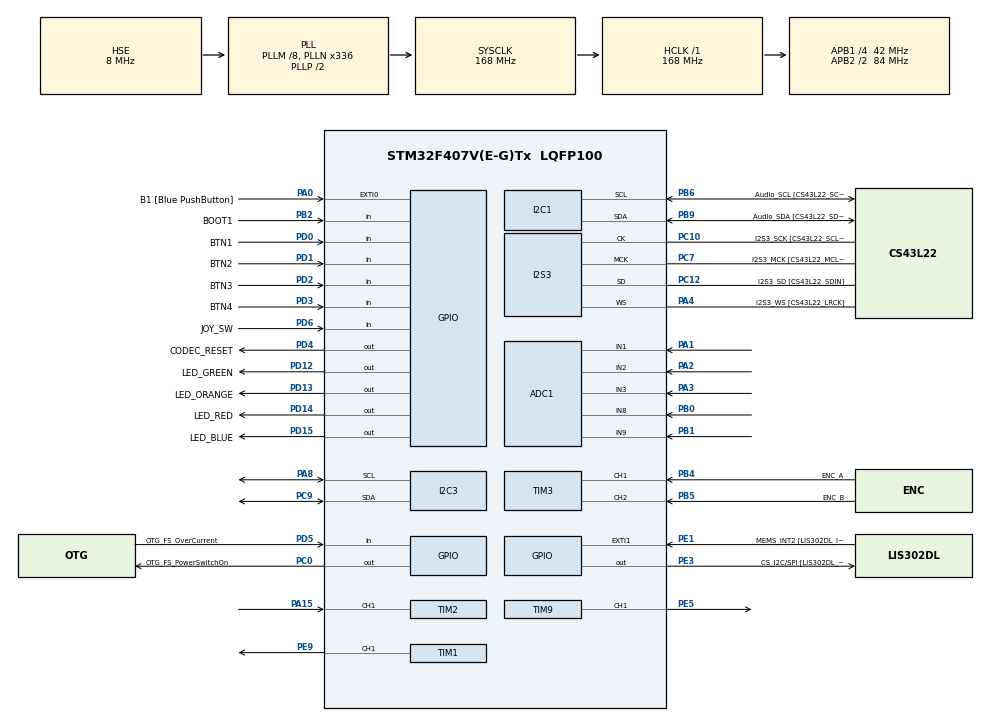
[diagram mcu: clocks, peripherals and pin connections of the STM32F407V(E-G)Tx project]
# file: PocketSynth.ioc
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ADC1.Channel-0\#ChannelRegularConversion=ADC_CHANNEL_8
ADC1.Channel-1\#ChannelRegularConversion=ADC_CHANNEL_9
ADC1.Channel-2\#ChannelRegularConversion=ADC_CHANNEL_1
ADC1.Channel-3\#ChannelRegularConversion=ADC_CHANNEL_2
ADC1.Channel-4\#ChannelRegularConversion=ADC_CHANNEL_3
ADC1.ContinuousConvMode=ENABLE
ADC1.DMAContinuousRequests=ENABLE
ADC1.NbrOfConversion=5
ADC1.NbrOfConversionFlag=1
ADC1.Rank-0\#ChannelRegularConversion=1
ADC1.Rank-1\#ChannelRegularConversion=2
ADC1.Rank-2\#ChannelRegularConversion=3
ADC1.Rank-3\#ChannelRegularConversion=4
ADC1.Rank-4\#ChannelRegularConversion=5
ADC1.SamplingTime-0\#ChannelRegularConversion=ADC_SAMPLETIME_480CYCLES
ADC1.SamplingTime-1\#ChannelRegularConversion=ADC_SAMPLETIME_480CYCLES
ADC1.SamplingTime-2\#ChannelRegularConversion=ADC_SAMPLETIME_480CYCLES
ADC1.SamplingTime-3\#ChannelRegularConversion=ADC_SAMPLETIME_480CYCLES
ADC1.SamplingTime-4\#ChannelRegularConversion=ADC_SAMPLETIME_480CYCLES
ADC1.ScanConvMode=ENABLE
ADC1.master=1
Dma.ADC1.1.Direction=DMA_PERIPH_TO_MEMORY
Dma.ADC1.1.FIFOMode=DMA_FIFOMODE_DISABLE
Dma.ADC1.1.Instance=DMA2_Stream0
Dma.ADC1.1.MemDataAlignment=DMA_MDATAALIGN_HALFWORD
Dma.ADC1.1.MemInc=DMA_MINC_ENABLE
Dma.ADC1.1.Mode=DMA_CIRCULAR
Dma.ADC1.1.PeriphDataAlignment=DMA_PDATAALIGN_HALFWORD
Dma.ADC1.1.PeriphInc=DMA_PINC_DISABLE
Dma.ADC1.1.Priority=DMA_PRIORITY_LOW
Dma.Request0=SPI3_TX
Dma.Request1=ADC1
Dma.Request2=TIM1_CH1
Dma.SPI3_TX.0.Direction=DMA_MEMORY_TO_PERIPH
Dma.SPI3_TX.0.FIFOMode=DMA_FIFOMODE_DISABLE
Dma.SPI3_TX.0.Instance=DMA1_Stream5
Dma.SPI3_TX.0.MemDataAlignment=DMA_MDATAALIGN_HALFWORD
Dma.SPI3_TX.0.MemInc=DMA_MINC_ENABLE
Dma.SPI3_TX.0.Mode=DMA_CIRCULAR
Dma.SPI3_TX.0.PeriphDataAlignment=DMA_PDATAALIGN_HALFWORD
Dma.SPI3_TX.0.PeriphInc=DMA_PINC_DISABLE
Dma.SPI3_TX.0.Priority=DMA_PRIORITY_HIGH
Dma.TIM1_CH1.2.Direction=DMA_MEMORY_TO_PERIPH
Dma.TIM1_CH1.2.FIFOMode=DMA_FIFOMODE_DISABLE
Dma.TIM1_CH1.2.Instance=DMA2_Stream1
Dma.TIM1_CH1.2.MemDataAlignment=DMA_MDATAALIGN_HALFWORD
Dma.TIM1_CH1.2.MemInc=DMA_MINC_ENABLE
Dma.TIM1_CH1.2.Mode=DMA_NORMAL
Dma.TIM1_CH1.2.PeriphDataAlignment=DMA_PDATAALIGN_HALFWORD
Dma.TIM1_CH1.2.PeriphInc=DMA_PINC_DISABLE
Dma.TIM1_CH1.2.Priority=DMA_PRIORITY_LOW
I2S3.AudioFreq=I2S_AUDIOFREQ_48K
I2S3.ErrorAudioFreq=-0.01 %
I2S3.FullDuplexMode=I2S_FULLDUPLEXMODE_DISABLE
I2S3.Instance=SPI$Index
I2S3.RealAudioFreq=47.991 KHz
I2S3.VirtualMode=I2S_MODE_MASTER
Mcu.Family=STM32F4
Mcu.Name=STM32F407V(E-G)Tx
Mcu.Package=LQFP100
NVIC.DMA1_Stream5_IRQn=true\:0\:0\:false\:false\:true\:false\:true\:true
NVIC.DMA2_Stream0_IRQn=true\:6\:0\:true\:false\:true\:false\:true\:true
NVIC.DMA2_Stream1_IRQn=true\:7\:0\:true\:false\:true\:false\:true\:true
NVIC.PriorityGroup=NVIC_PRIORITYGROUP_4
NVIC.TIM6_DAC_IRQn=true\:5\:0\:true\:false\:true\:true\:true\:true
PA0-WKUP.GPIO_Label=B1 [Blue PushButton]
PA0-WKUP.Signal=GPXTI0
PA1.Signal=ADCx_IN1
PA10.GPIO_Label=OTG_FS_ID
PA10.GPIO_Mode=GPIO_MODE_AF_PP
PA10.GPIO_PuPd=GPIO_NOPULL
PA10.GPIO_Speed=GPIO_SPEED_FREQ_LOW
PA10.Signal=USB_OTG_FS_ID
PA11.GPIO_Label=OTG_FS_DM
PA11.GPIO_Mode=GPIO_MODE_AF_PP
PA11.GPIO_PuPd=GPIO_NOPULL
PA11.GPIO_Speed=GPIO_SPEED_FREQ_LOW
PA11.Signal=USB_OTG_FS_DM
PA12.GPIO_Label=OTG_FS_DP
PA12.GPIO_Mode=GPIO_MODE_AF_PP
PA12.GPIO_PuPd=GPIO_NOPULL
PA12.GPIO_Speed=GPIO_SPEED_FREQ_LOW
PA12.Signal=USB_OTG_FS_DP
PA13.GPIO_Label=SWDIO
PA13.Mode=Serial_Wire
PA13.Signal=SYS_JTMS-SWDIO
PA14.GPIO_Label=SWCLK
PA14.Mode=Serial_Wire
PA14.Signal=SYS_JTCK-SWCLK
PA15.Signal=S_TIM2_CH1_ETR
PA2.Signal=ADCx_IN2
PA3.Signal=ADCx_IN3
PA4.GPIO_Label=I2S3_WS [CS43L22_LRCK]
PA4.GPIO_Mode=GPIO_MODE_AF_PP
PA4.GPIO_PuPd=GPIO_NOPULL
PA4.GPIO_Speed=GPIO_SPEED_FREQ_LOW
PA4.Mode=Half_Duplex_Master
PA4.Signal=I2S3_WS
PA5.GPIO_Label=SPI1_SCK [LIS302DL_SCL/SPC]
PA5.GPIO_Mode=GPIO_MODE_AF_PP
PA5.GPIO_PuPd=GPIO_NOPULL
PA5.GPIO_Speed=GPIO_SPEED_FREQ_LOW
PA5.Signal=SPI1_SCK
PA6.GPIO_Label=SPI1_MISO [LIS302DL_SDO]
PA6.GPIO_Mode=GPIO_MODE_AF_PP
PA6.GPIO_PuPd=GPIO_NOPULL
PA6.GPIO_Speed=GPIO_SPEED_FREQ_LOW
PA6.Signal=SPI1_MISO
PA7.GPIO_Label=SPI1_MOSI [LIS302DL_SDA/SDI/SDO]
PA7.GPIO_Mode=GPIO_MODE_AF_PP
PA7.GPIO_PuPd=GPIO_NOPULL
PA7.GPIO_Speed=GPIO_SPEED_FREQ_LOW
PA7.Signal=SPI1_MOSI
PA8.Mode=I2C
PA8.Signal=I2C3_SCL
PA9.GPIO_Label=VBUS_FS
PA9.GPIO_Mode=GPIO_MODE_INPUT
PA9.GPIO_PuPd=GPIO_NOPULL
PA9.Signal=USB_OTG_FS_VBUS
PB0.Signal=ADCx_IN8
PB1.Signal=ADCx_IN9
PB10.GPIO_Label=CLK_IN [MP45DT02_CLK]
PB10.GPIO_Mode=GPIO_MODE_AF_PP
PB10.GPIO_PuPd=GPIO_NOPULL
PB10.GPIO_Speed=GPIO_SPEED_FREQ_LOW
PB10.Signal=I2S2_CK
PB2.GPIO_Label=BOOT1
PB2.GPIO_Mode=GPIO_MODE_INPUT
PB2.GPIO_PuPd=GPIO_NOPULL
PB2.Signal=GPIO_Input
PB3.GPIO_Label=SWO
PB3.Signal=SYS_JTDO-SWO
PB4.GPIO_Label=ENC_A
PB4.GPIO_PuPd=GPIO_PULLUP
PB4.Signal=S_TIM3_CH1
PB5.GPIO_Label=ENC_B
PB5.GPIO_PuPd=GPIO_PULLUP
PB5.Signal=S_TIM3_CH2
PB6.GPIO_Label=Audio_SCL [CS43L22_SCL]
PB6.GPIO_Mode=GPIO_MODE_AF_OD
PB6.GPIO_PuPd=GPIO_NOPULL
PB6.GPIO_Speed=GPIO_SPEED_FREQ_LOW
PB6.Mode=I2C
PB6.Signal=I2C1_SCL
PB9.GPIO_Label=Audio_SDA [CS43L22_SDA]
PB9.GPIO_Mode=GPIO_MODE_AF_OD
PB9.GPIO_PuPd=GPIO_NOPULL
PB9.GPIO_Speed=GPIO_SPEED_FREQ_LOW
PB9.Mode=I2C
PB9.Signal=I2C1_SDA
PC0.GPIO_Label=OTG_FS_PowerSwitchOn
PC0.GPIO_PuPd=GPIO_NOPULL
PC0.GPIO_Speed=GPIO_SPEED_FREQ_LOW
PC0.PinState=GPIO_PIN_SET
PC0.Signal=GPIO_Output
PC10.GPIO_Label=I2S3_SCK [CS43L22_SCLK]
PC10.GPIO_Mode=GPIO_MODE_AF_PP
PC10.GPIO_PuPd=GPIO_NOPULL
PC10.GPIO_Speed=GPIO_SPEED_FREQ_LOW
PC10.Mode=Half_Duplex_Master
PC10.Signal=I2S3_CK
PC12.GPIO_Label=I2S3_SD [CS43L22_SDIN]
PC12.GPIO_Mode=GPIO_MODE_AF_PP
PC12.GPIO_PuPd=GPIO_NOPULL
PC12.GPIO_Speed=GPIO_SPEED_FREQ_LOW
PC12.Mode=Half_Duplex_Master
PC12.Signal=I2S3_SD
PC14-OSC32_IN.GPIO_Label=PC14-OSC32_IN
PC14-OSC32_IN.Signal=RCC_OSC32_IN
PC15-OSC32_OUT.GPIO_Label=PC15-OSC32_OUT
PC15-OSC32_OUT.Signal=RCC_OSC32_OUT
PC3.GPIO_Label=PDM_OUT [MP45DT02_DOUT]
PC3.GPIO_Mode=GPIO_MODE_AF_PP
PC3.GPIO_PuPd=GPIO_NOPULL
PC3.GPIO_Speed=GPIO_SPEED_FREQ_LOW
PC3.Signal=I2S2_SD
PC7.GPIO_Label=I2S3_MCK [CS43L22_MCLK]
PC7.GPIO_Mode=GPIO_MODE_AF_PP
PC7.GPIO_PuPd=GPIO_NOPULL
PC7.GPIO_Speed=GPIO_SPEED_FREQ_LOW
PC7.Mode=Master_Clock_Activated
PC7.Signal=I2S3_MCK
PC9.Mode=I2C
PC9.Signal=I2C3_SDA
PD0.GPIO_Label=BTN1
PD0.GPIO_PuPd=GPIO_PULLUP
PD0.Signal=GPIO_Input
PD1.GPIO_Label=BTN2
PD1.GPIO_PuPd=GPIO_PULLUP
PD1.Signal=GPIO_Input
PD12.GPIO_Label=LED_GREEN
PD12.GPIO_PuPd=GPIO_NOPULL
PD12.GPIO_Speed=GPIO_SPEED_FREQ_LOW
PD12.Signal=GPIO_Output
PD13.GPIO_Label=LED_ORANGE
PD13.GPIO_PuPd=GPIO_NOPULL
PD13.GPIO_Speed=GPIO_SPEED_FREQ_LOW
PD13.Signal=GPIO_Output
PD14.GPIO_Label=LED_RED
PD14.GPIO_PuPd=GPIO_NOPULL
PD14.GPIO_Speed=GPIO_SPEED_FREQ_LOW
PD14.Signal=GPIO_Output
PD15.GPIO_Label=LED_BLUE
PD15.GPIO_PuPd=GPIO_NOPULL
PD15.GPIO_Speed=GPIO_SPEED_FREQ_LOW
PD15.Signal=GPIO_Output
PD2.GPIO_Label=BTN3
PD2.GPIO_PuPd=GPIO_PULLUP
PD2.Signal=GPIO_Input
PD3.GPIO_Label=BTN4
PD3.GPIO_PuPd=GPIO_PULLUP
PD3.Signal=GPIO_Input
PD4.GPIO_Label=CODEC_RESET
PD4.Signal=GPIO_Output
PD5.GPIO_Label=OTG_FS_OverCurrent
PD5.GPIO_Mode=GPIO_MODE_INPUT
PD5.GPIO_PuPd=GPIO_NOPULL
PD5.Signal=GPIO_Input
PD6.GPIO_Label=JOY_SW
PD6.GPIO_PuPd=GPIO_PULLUP
PD6.Signal=GPIO_Input
PE1.GPIO_Label=MEMS_INT2 [LIS302DL_INT2]
PE1.GPIO_ModeDefaultEXTI=GPIO_MODE_EVT_RISING
PE1.GPIO_PuPd=GPIO_NOPULL
PE1.Signal=GPXTI1
PE3.GPIO_Label=CS_I2C/SPI [LIS302DL_CS_I2C/SPI]
PE3.GPIO_PuPd=GPIO_NOPULL
PE3.GPIO_Speed=GPIO_SPEED_FREQ_LOW
PE3.Signal=GPIO_Output
PE5.Signal=S_TIM9_CH1
PE9.Signal=S_TIM1_CH1
PH0-OSC_IN.GPIO_Label=PH0-OSC_IN
PH0-OSC_IN.Mode=HSE-External-Oscillator
PH0-OSC_IN.Signal=RCC_OSC_IN
PH1-OSC_OUT.GPIO_Label=PH1-OSC_OUT
PH1-OSC_OUT.Mode=HSE-External-Oscillator
PH1-OSC_OUT.Signal=RCC_OSC_OUT
ProjectManager.HeapSize=0x200
ProjectManager.StackSize=0x400
ProjectManager.TargetToolchain=STM32CubeIDE
RCC.48MHZClocksFreq_Value=48000000
RCC.AHBFreq_Value=168000000
RCC.APB1CLKDivider=RCC_HCLK_DIV4
RCC.APB1Freq_Value=42000000
RCC.APB1TimFreq_Value=84000000
RCC.APB2CLKDivider=RCC_HCLK_DIV2
RCC.APB2Freq_Value=84000000
RCC.APB2TimFreq_Value=168000000
RCC.CortexFreq_Value=168000000
RCC.HCLKFreq_Value=168000000
RCC.HSE_VALUE=8000000
RCC.HSI_VALUE=16000000
RCC.LSE_VALUE=32768
RCC.PLLI2SN=258
RCC.PLLI2SR=3
RCC.PLLM=8
RCC.PLLN=336
RCC.PLLQ=7
RCC.PLLSourceVirtual=RCC_PLLSOURCE_HSE
RCC.SYSCLKFreq_VALUE=168000000
RCC.SYSCLKSource=RCC_SYSCLKSOURCE_PLLCLK
RCC.VCOOutputFreq_Value=336000000
SH.ADCx_IN1.0=ADC1_IN1,IN1
SH.ADCx_IN2.0=ADC1_IN2,IN2
SH.ADCx_IN3.0=ADC1_IN3,IN3
SH.ADCx_IN8.0=ADC1_IN8,IN8
SH.ADCx_IN9.0=ADC1_IN9,IN9
SH.S_TIM1_CH1.0=TIM1_CH1,PWM Generation1 CH1
SH.S_TIM2_CH1_ETR.0=TIM2_CH1,PWM_Input_1
SH.S_TIM3_CH1.0=TIM3_CH1,Encoder_Interface
SH.S_TIM3_CH2.0=TIM3_CH2,Encoder_Interface
SH.S_TIM9_CH1.0=TIM9_CH1,PWM Generation1 CH1
TIM1.Channel-PWM\ Generation1\ CH1=TIM_CHANNEL_1
TIM1.Period=209
TIM2.Prescaler=83
TIM3.EncoderMode=TIM_ENCODERMODE_TI12
TIM3.IC1Filter=15
TIM3.IC2Filter=15
TIM6.Period=1000-1
TIM6.Prescaler=84-1
TIM9.Channel-PWM\ Generation1\ CH1=TIM_CHANNEL_1
TIM9.Period=59999
TIM9.Prescaler=167
TIM9.Pulse-PWM\ Generation1\ CH1=10
VP_TIM1_VS_ClockSourceINT.Mode=Internal
VP_TIM2_VS_ClockSourceINT.Mode=Internal
VP_TIM6_VS_ClockSourceINT.Mode=Enable_Timer
VP_TIM9_VS_ClockSourceINT.Mode=Internal
board=STM32F407G-DISC1

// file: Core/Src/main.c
/* USER CODE BEGIN Header */
/**
  ******************************************************************************
  * @file           : main.c
  * @brief          : Main program body
  ******************************************************************************
  * @attention
  *
  * Copyright (c) 2026 STMicroelectronics.
  * All rights reserved.
  *
  * This software is licensed under terms that can be found in the LICENSE file
  * in the root directory of this software component.
  * If no LICENSE file comes with this software, it is provided AS-IS.
  *
  ******************************************************************************
  */
/* USER CODE END Header */
#include "main.h"
#include "adc.h"
#include "dma.h"
#include "i2c.h"
#include "i2s.h"
#include "tim.h"
#include "gpio.h"

/* USER CODE BEGIN Includes */
#include "cs43l22.h"
#include "audio.h"
#include "controls.h"
#include "sonar.h"
#include "ui.h"
#include "perf.h"
/* USER CODE END Includes */

void SystemClock_Config(void);

/* USER CODE BEGIN 0 */
/* Something failed at startup: red LED on, and stop here. */
static void startup_failed(void)
{
    HAL_GPIO_WritePin(LED_RED_GPIO_Port, LED_RED_Pin, GPIO_PIN_SET);
    while (1) { }
}
/* USER CODE END 0 */

int main(void)
{

  /* MCU Configuration--------------------------------------------------------*/

  /* Reset of all peripherals, Initializes the Flash interface and the Systick. */
  HAL_Init();

  /* Configure the system clock */
  SystemClock_Config();

  /* Initialize all configured peripherals */
  MX_GPIO_Init();
  MX_DMA_Init();
  MX_I2S3_Init();
  MX_I2C1_Init();
  MX_TIM3_Init();
  MX_TIM6_Init();
  MX_ADC1_Init();
  MX_TIM2_Init();
  MX_TIM9_Init();
  MX_I2C3_Init();
  MX_TIM1_Init();
  /* USER CODE BEGIN 2 */
  /* 0. Start the CPU cycle counter used for the timing measurements. */
  Perf_Init();

  /* 1. Configure the codec over I2C. It stays powered down. */
  if (CS43L22_Init(&hi2c1) != HAL_OK)
      startup_failed();

  /* 2. Start the I2S DMA: MCLK and the sample stream start now. */
  if (Audio_Start(&hi2s3) != HAL_OK)
      startup_failed();

  /* 3. The clock is running, so it is now safe to power the codec on. */
  if (CS43L22_PowerOn() != HAL_OK)
      startup_failed();
  /* 4. Start reading the encoder and the 1 kHz control tick. */
  Sonar_Start(&htim9, &htim2);
  Controls_Start(&htim3, &htim6, &hadc1);

  /* 5. LCD and LEDs. These are slow, so they only ever run from the main loop. */
  UI_Start(&hi2c3, &htim1);
  /* USER CODE END 2 */

  /* Infinite loop */
  while (1)
  {

    /* USER CODE BEGIN 3 */
	  /* Button LEDs: each lights while its button is pressed. */
	HAL_GPIO_WritePin(LED_GREEN_GPIO_Port,  LED_GREEN_Pin,  !HAL_GPIO_ReadPin(BTN1_GPIO_Port, BTN1_Pin));
	HAL_GPIO_WritePin(LED_ORANGE_GPIO_Port, LED_ORANGE_Pin, !HAL_GPIO_ReadPin(BTN2_GPIO_Port, BTN2_Pin));
	HAL_GPIO_WritePin(LED_RED_GPIO_Port,    LED_RED_Pin,    !HAL_GPIO_ReadPin(BTN3_GPIO_Port, BTN3_Pin));
	HAL_GPIO_WritePin(LED_BLUE_GPIO_Port,   LED_BLUE_Pin,   !HAL_GPIO_ReadPin(BTN4_GPIO_Port, BTN4_Pin));
	UI_Update();
	Perf_Report();
	HAL_Delay(1);
  }
  /* USER CODE END 3 */
}

void SystemClock_Config(void)
{
  RCC_OscInitTypeDef RCC_OscInitStruct = {0};
  RCC_ClkInitTypeDef RCC_ClkInitStruct = {0};

  /** Configure the main internal regulator output voltage
  */
  __HAL_RCC_PWR_CLK_ENABLE();
  __HAL_PWR_VOLTAGESCALING_CONFIG(PWR_REGULATOR_VOLTAGE_SCALE1);

  /** Initializes the RCC Oscillators according to the specified parameters
  * in the RCC_OscInitTypeDef structure.
  */
  RCC_OscInitStruct.OscillatorType = RCC_OSCILLATORTYPE_HSE;
  RCC_OscInitStruct.HSEState = RCC_HSE_ON;
  RCC_OscInitStruct.PLL.PLLState = RCC_PLL_ON;
  RCC_OscInitStruct.PLL.PLLSource = RCC_PLLSOURCE_HSE;
  RCC_OscInitStruct.PLL.PLLM = 8;
  RCC_OscInitStruct.PLL.PLLN = 336;
  RCC_OscInitStruct.PLL.PLLP = RCC_PLLP_DIV2;
  RCC_OscInitStruct.PLL.PLLQ = 7;
  if (HAL_RCC_OscConfig(&RCC_OscInitStruct) != HAL_OK)
  {
    Error_Handler();
  }

  /** Initializes the CPU, AHB and APB buses clocks
  */
  RCC_ClkInitStruct.ClockType = RCC_CLOCKTYPE_HCLK|RCC_CLOCKTYPE_SYSCLK
                              |RCC_CLOCKTYPE_PCLK1|RCC_CLOCKTYPE_PCLK2;
  RCC_ClkInitStruct.SYSCLKSource = RCC_SYSCLKSOURCE_PLLCLK;
  RCC_ClkInitStruct.AHBCLKDivider = RCC_SYSCLK_DIV1;
  RCC_ClkInitStruct.APB1CLKDivider = RCC_HCLK_DIV4;
  RCC_ClkInitStruct.APB2CLKDivider = RCC_HCLK_DIV2;

  if (HAL_RCC_ClockConfig(&RCC_ClkInitStruct, FLASH_LATENCY_5) != HAL_OK)
  {
    Error_Handler();
  }
}

void Error_Handler(void)
{
  __disable_irq();
  while (1)
  {
  }
}
